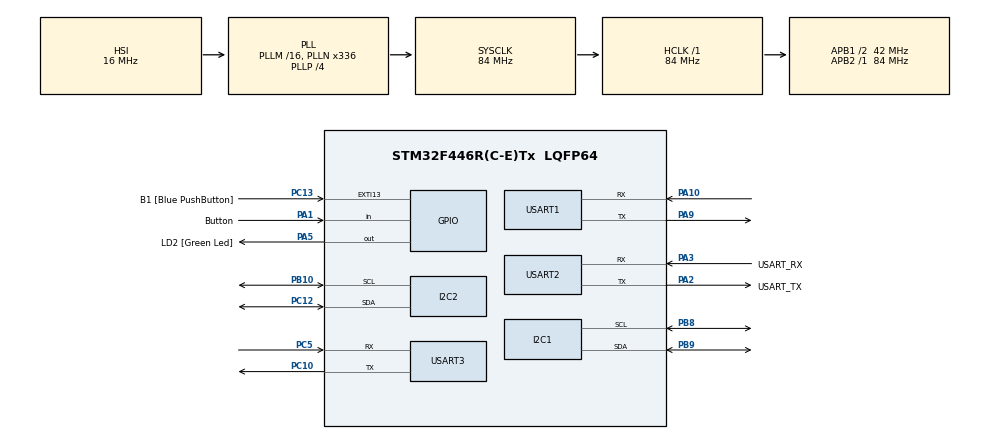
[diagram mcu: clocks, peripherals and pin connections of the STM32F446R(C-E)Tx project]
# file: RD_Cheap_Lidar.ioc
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I2C1.AddressingMode=I2C_ADDRESSINGMODE_7BIT
I2C1.I2C_Mode=I2C_Fast
I2C2.I2C_Mode=I2C_Fast
Mcu.Family=STM32F4
Mcu.Name=STM32F446R(C-E)Tx
Mcu.Package=LQFP64
NVIC.PriorityGroup=NVIC_PRIORITYGROUP_0
PA1.GPIO_Label=Button
PA1.GPIO_PuPd=GPIO_PULLUP
PA1.Signal=GPIO_Input
PA10.Mode=Asynchronous
PA10.Signal=USART1_RX
PA13.GPIO_Label=TMS
PA13.Mode=Serial_Wire
PA13.Signal=SYS_JTMS-SWDIO
PA14.GPIO_Label=TCK
PA14.Mode=Serial_Wire
PA14.Signal=SYS_JTCK-SWCLK
PA2.GPIO_Label=USART_TX
PA2.Mode=Asynchronous
PA2.Signal=USART2_TX
PA3.GPIO_Label=USART_RX
PA3.Mode=Asynchronous
PA3.Signal=USART2_RX
PA5.GPIO_Label=LD2 [Green Led]
PA5.Signal=GPIO_Output
PA9.Mode=Asynchronous
PA9.Signal=USART1_TX
PB10.Mode=I2C
PB10.Signal=I2C2_SCL
PB3.GPIO_Label=SWO
PB3.Signal=SYS_JTDO-SWO
PB8.Mode=I2C
PB8.Signal=I2C1_SCL
PB9.Mode=I2C
PB9.Signal=I2C1_SDA
PC10.Mode=Asynchronous
PC10.Signal=USART3_TX
PC12.Mode=I2C
PC12.Signal=I2C2_SDA
PC13.GPIO_Label=B1 [Blue PushButton]
PC13.GPIO_ModeDefaultEXTI=GPIO_MODE_IT_FALLING
PC13.Signal=GPXTI13
PC14-OSC32_IN.Mode=LSE-External-Oscillator
PC14-OSC32_IN.Signal=RCC_OSC32_IN
PC15-OSC32_OUT.Mode=LSE-External-Oscillator
PC15-OSC32_OUT.Signal=RCC_OSC32_OUT
PC5.Mode=Asynchronous
PC5.Signal=USART3_RX
PH0-OSC_IN.Mode=HSE-External-Oscillator
PH0-OSC_IN.Signal=RCC_OSC_IN
PH1-OSC_OUT.Mode=HSE-External-Oscillator
PH1-OSC_OUT.Signal=RCC_OSC_OUT
ProjectManager.HeapSize=0x200
ProjectManager.StackSize=0x400
ProjectManager.TargetToolchain=STM32CubeIDE
RCC.48MHZClocksFreq_Value=84000000
RCC.AHBFreq_Value=84000000
RCC.APB1CLKDivider=RCC_HCLK_DIV2
RCC.APB1Freq_Value=42000000
RCC.APB1TimFreq_Value=84000000
RCC.APB2Freq_Value=84000000
RCC.APB2TimFreq_Value=84000000
RCC.CortexFreq_Value=84000000
RCC.FLatency-AdvancedSettings=FLASH_LATENCY_2
RCC.HCLKFreq_Value=84000000
RCC.HSE_VALUE=8000000
RCC.HSI_VALUE=16000000
RCC.PLLN=336
RCC.PLLP=RCC_PLLP_DIV4
RCC.SYSCLKFreq_VALUE=84000000
RCC.SYSCLKSource=RCC_SYSCLKSOURCE_PLLCLK
RCC.USBFreq_Value=168000000
RCC.VCOOutputFreq_Value=336000000
USART1.VirtualMode=VM_ASYNC
USART2.VirtualMode=VM_ASYNC
USART3.VirtualMode=VM_ASYNC
board=NUCLEO-F446RE

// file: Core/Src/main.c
/* USER CODE BEGIN Header */
/**
  ******************************************************************************
  * @file           : main.c
  * @brief          : Main program body
  ******************************************************************************
  * @attention
  *
  * Copyright (c) 2022 STMicroelectronics.
  * All rights reserved.
  *
  * This software is licensed under terms that can be found in the LICENSE file
  * in the root directory of this software component.
  * If no LICENSE file comes with this software, it is provided AS-IS.
  *
  ******************************************************************************
  */
/* USER CODE END Header */
#include "main.h"

/* USER CODE BEGIN Includes */
#include "fonts.h"
#include "ssd1306.h"
#include <stdio.h>
#include "lidar.h"
#include "measurement_functions.h"
/* USER CODE END Includes */

I2C_HandleTypeDef hi2c1;
I2C_HandleTypeDef hi2c2;

UART_HandleTypeDef huart1;
UART_HandleTypeDef huart2;
UART_HandleTypeDef huart3;

/* USER CODE BEGIN PV */
uint8_t tfStatus;        // system error status: READY = 0
uint8_t dataArray[ 6];
uint8_t regReply;
/* USER CODE END PV */

void SystemClock_Config(void);
static void MX_GPIO_Init(void);
static void MX_USART2_UART_Init(void);
static void MX_I2C1_Init(void);
static void MX_USART1_UART_Init(void);
static void MX_I2C2_Init(void);
static void MX_USART3_UART_Init(void);

/* USER CODE BEGIN 0 */
// device variables passed back by getData
int licz_ms;
int licz_pom;
int licz_wys;
uint16_t vessel_height;
int program_step = 0;

/* USER CODE END 0 */

int main(void)
{

  /* MCU Configuration--------------------------------------------------------*/

  /* Reset of all peripherals, Initializes the Flash interface and the Systick. */
  HAL_Init();

  /* USER CODE BEGIN Init */
  // device variables passed back by getData

  /* USER CODE END Init */

  /* Configure the system clock */
  SystemClock_Config();

  /* Initialize all configured peripherals */
  MX_GPIO_Init();
  MX_USART2_UART_Init();
  MX_I2C1_Init();
  MX_USART1_UART_Init();
  MX_I2C2_Init();
  MX_USART3_UART_Init();
  /* USER CODE BEGIN 2 */
  SSD1306_Init();
  /* USER CODE END 2 */

  /* Infinite loop */
  /* USER CODE BEGIN WHILE */
  //char buffer[10];
  licz_ms=HAL_GetTick();
  licz_wys=licz_ms;
  licz_pom=licz_ms;

  while (1)
  {
	  licz_ms=HAL_GetTick();

	  if (program_step==0){
		  vessel_height = meas_init();
	  }else if (program_step==1){
		 display_vessel_height(vessel_height);
		 display_current_height(vessel_height);
	  }
  }
    /* USER CODE END WHILE */

}

void SystemClock_Config(void)
{
  RCC_OscInitTypeDef RCC_OscInitStruct = {0};
  RCC_ClkInitTypeDef RCC_ClkInitStruct = {0};

  /** Configure the main internal regulator output voltage
  */
  __HAL_RCC_PWR_CLK_ENABLE();
  __HAL_PWR_VOLTAGESCALING_CONFIG(PWR_REGULATOR_VOLTAGE_SCALE3);

  /** Initializes the RCC Oscillators according to the specified parameters
  * in the RCC_OscInitTypeDef structure.
  */
  RCC_OscInitStruct.OscillatorType = RCC_OSCILLATORTYPE_HSI;
  RCC_OscInitStruct.HSIState = RCC_HSI_ON;
  RCC_OscInitStruct.HSICalibrationValue = RCC_HSICALIBRATION_DEFAULT;
  RCC_OscInitStruct.PLL.PLLState = RCC_PLL_ON;
  RCC_OscInitStruct.PLL.PLLSource = RCC_PLLSOURCE_HSI;
  RCC_OscInitStruct.PLL.PLLM = 16;
  RCC_OscInitStruct.PLL.PLLN = 336;
  RCC_OscInitStruct.PLL.PLLP = RCC_PLLP_DIV4;
  RCC_OscInitStruct.PLL.PLLQ = 2;
  RCC_OscInitStruct.PLL.PLLR = 2;
  if (HAL_RCC_OscConfig(&RCC_OscInitStruct) != HAL_OK)
  {
    Error_Handler();
  }

  /** Initializes the CPU, AHB and APB buses clocks
  */
  RCC_ClkInitStruct.ClockType = RCC_CLOCKTYPE_HCLK|RCC_CLOCKTYPE_SYSCLK
                              |RCC_CLOCKTYPE_PCLK1|RCC_CLOCKTYPE_PCLK2;
  RCC_ClkInitStruct.SYSCLKSource = RCC_SYSCLKSOURCE_PLLCLK;
  RCC_ClkInitStruct.AHBCLKDivider = RCC_SYSCLK_DIV1;
  RCC_ClkInitStruct.APB1CLKDivider = RCC_HCLK_DIV2;
  RCC_ClkInitStruct.APB2CLKDivider = RCC_HCLK_DIV1;

  if (HAL_RCC_ClockConfig(&RCC_ClkInitStruct, FLASH_LATENCY_2) != HAL_OK)
  {
    Error_Handler();
  }
}

static void MX_I2C1_Init(void)
{

  hi2c1.Instance = I2C1;
  hi2c1.Init.ClockSpeed = 400000;
  hi2c1.Init.DutyCycle = I2C_DUTYCYCLE_2;
  hi2c1.Init.OwnAddress1 = 0;
  hi2c1.Init.AddressingMode = I2C_ADDRESSINGMODE_7BIT;
  hi2c1.Init.DualAddressMode = I2C_DUALADDRESS_DISABLE;
  hi2c1.Init.OwnAddress2 = 0;
  hi2c1.Init.GeneralCallMode = I2C_GENERALCALL_DISABLE;
  hi2c1.Init.NoStretchMode = I2C_NOSTRETCH_DISABLE;
  if (HAL_I2C_Init(&hi2c1) != HAL_OK)
  {
    Error_Handler();
  }

}

static void MX_I2C2_Init(void)
{

  hi2c2.Instance = I2C2;
  hi2c2.Init.ClockSpeed = 400000;
  hi2c2.Init.DutyCycle = I2C_DUTYCYCLE_2;
  hi2c2.Init.OwnAddress1 = 0;
  hi2c2.Init.AddressingMode = I2C_ADDRESSINGMODE_7BIT;
  hi2c2.Init.DualAddressMode = I2C_DUALADDRESS_DISABLE;
  hi2c2.Init.OwnAddress2 = 0;
  hi2c2.Init.GeneralCallMode = I2C_GENERALCALL_DISABLE;
  hi2c2.Init.NoStretchMode = I2C_NOSTRETCH_DISABLE;
  if (HAL_I2C_Init(&hi2c2) != HAL_OK)
  {
    Error_Handler();
  }

}

static void MX_USART1_UART_Init(void)
{

  huart1.Instance = USART1;
  huart1.Init.BaudRate = 115200;
  huart1.Init.WordLength = UART_WORDLENGTH_8B;
  huart1.Init.StopBits = UART_STOPBITS_1;
  huart1.Init.Parity = UART_PARITY_NONE;
  huart1.Init.Mode = UART_MODE_TX_RX;
  huart1.Init.HwFlowCtl = UART_HWCONTROL_NONE;
  huart1.Init.OverSampling = UART_OVERSAMPLING_16;
  if (HAL_UART_Init(&huart1) != HAL_OK)
  {
    Error_Handler();
  }

}

static void MX_USART2_UART_Init(void)
{

  huart2.Instance = USART2;
  huart2.Init.BaudRate = 115200;
  huart2.Init.WordLength = UART_WORDLENGTH_8B;
  huart2.Init.StopBits = UART_STOPBITS_1;
  huart2.Init.Parity = UART_PARITY_NONE;
  huart2.Init.Mode = UART_MODE_TX_RX;
  huart2.Init.HwFlowCtl = UART_HWCONTROL_NONE;
  huart2.Init.OverSampling = UART_OVERSAMPLING_16;
  if (HAL_UART_Init(&huart2) != HAL_OK)
  {
    Error_Handler();
  }

}

static void MX_USART3_UART_Init(void)
{

  huart3.Instance = USART3;
  huart3.Init.BaudRate = 115200;
  huart3.Init.WordLength = UART_WORDLENGTH_8B;
  huart3.Init.StopBits = UART_STOPBITS_1;
  huart3.Init.Parity = UART_PARITY_NONE;
  huart3.Init.Mode = UART_MODE_TX_RX;
  huart3.Init.HwFlowCtl = UART_HWCONTROL_NONE;
  huart3.Init.OverSampling = UART_OVERSAMPLING_16;
  if (HAL_UART_Init(&huart3) != HAL_OK)
  {
    Error_Handler();
  }

}

static void MX_GPIO_Init(void)
{
  GPIO_InitTypeDef GPIO_InitStruct = {0};

  /* GPIO Ports Clock Enable */
  __HAL_RCC_GPIOC_CLK_ENABLE();
  __HAL_RCC_GPIOH_CLK_ENABLE();
  __HAL_RCC_GPIOA_CLK_ENABLE();
  __HAL_RCC_GPIOB_CLK_ENABLE();

  /*Configure GPIO pin Output Level */
  HAL_GPIO_WritePin(LD2_GPIO_Port, LD2_Pin, GPIO_PIN_RESET);

  /*Configure GPIO pin : B1_Pin */
  GPIO_InitStruct.Pin = B1_Pin;
  GPIO_InitStruct.Mode = GPIO_MODE_IT_FALLING;
  GPIO_InitStruct.Pull = GPIO_NOPULL;
  HAL_GPIO_Init(B1_GPIO_Port, &GPIO_InitStruct);

  /*Configure GPIO pin : Button_Pin */
  GPIO_InitStruct.Pin = Button_Pin;
  GPIO_InitStruct.Mode = GPIO_MODE_INPUT;
  GPIO_InitStruct.Pull = GPIO_PULLUP;
  HAL_GPIO_Init(Button_GPIO_Port, &GPIO_InitStruct);

  /*Configure GPIO pin : LD2_Pin */
  GPIO_InitStruct.Pin = LD2_Pin;
  GPIO_InitStruct.Mode = GPIO_MODE_OUTPUT_PP;
  GPIO_InitStruct.Pull = GPIO_NOPULL;
  GPIO_InitStruct.Speed = GPIO_SPEED_FREQ_LOW;
  HAL_GPIO_Init(LD2_GPIO_Port, &GPIO_InitStruct);

}

void Error_Handler(void)
{
  __disable_irq();
  while (1)
  {
  }
}
